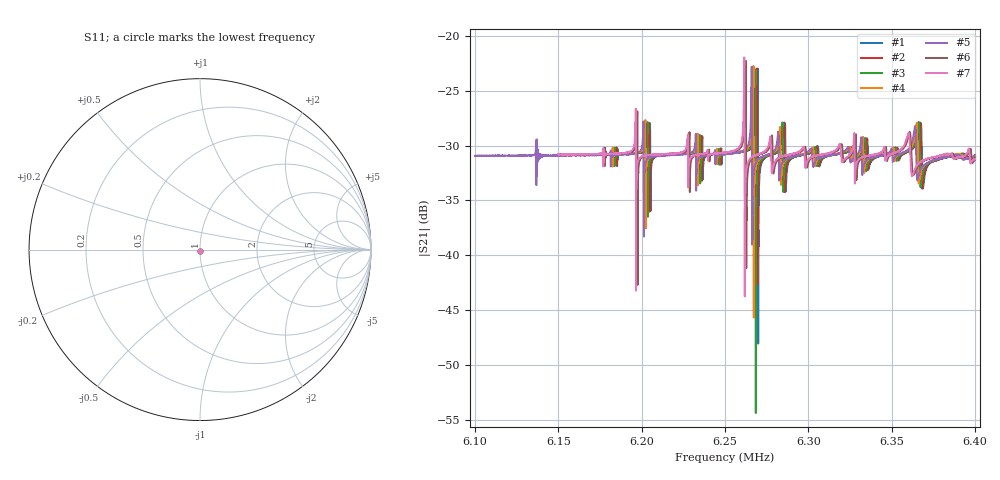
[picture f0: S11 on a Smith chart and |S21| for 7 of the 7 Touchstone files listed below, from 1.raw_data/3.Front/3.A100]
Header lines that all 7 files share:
!CETC41,AV3656A,ZGL00048,1.3.2
!Calibration ON (Full Solt 2-Port(Omit Isolation))
!Measurements: S11 S21 S12 S22
# Hz  S  dB  R 50.000
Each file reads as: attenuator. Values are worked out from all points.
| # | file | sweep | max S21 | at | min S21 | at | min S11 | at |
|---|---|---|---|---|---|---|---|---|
| 1 | A100_25C.s2p | 6.15 MHz to 6.4 MHz | -23.00 dB | 6.2697 MHz | -48.1 dB | 6.2699 MHz | -44.5 dB | 6.2205 MHz |
| 2 | A100_30C.s2p | 6.15 MHz to 6.4 MHz | -22.99 dB | 6.2692 MHz | -42.7 dB | 6.2694 MHz | -44.7 dB | 6.1993 MHz |
| 3 | A100_35C.s2p | 6.15 MHz to 6.4 MHz | -23.06 dB | 6.2682 MHz | -54.4 dB | 6.2685 MHz | -44.6 dB | 6.1918 MHz |
| 4 | A100_40C.s2p | 6.15 MHz to 6.4 MHz | -22.76 dB | 6.2671 MHz | -45.7 dB | 6.2673 MHz | -44.0 dB | 6.1953 MHz |
| 5 | A100_45C.s2p | 6.1 MHz to 6.4 MHz | -22.83 dB | 6.266 MHz | -39.0 dB | 6.2662 MHz | -44.1 dB | 6.2045 MHz |
| 6 | A100_60C.s2p | 6.15 MHz to 6.4 MHz | -22.27 dB | 6.2625 MHz | -42.7 dB | 6.1976 MHz | -44.5 dB | 6.2153 MHz |
| 7 | A100_65C.s2p | 6.15 MHz to 6.4 MHz | -21.95 dB | 6.2616 MHz | -43.8 dB | 6.2619 MHz | -44.4 dB | 6.1957 MHz |
